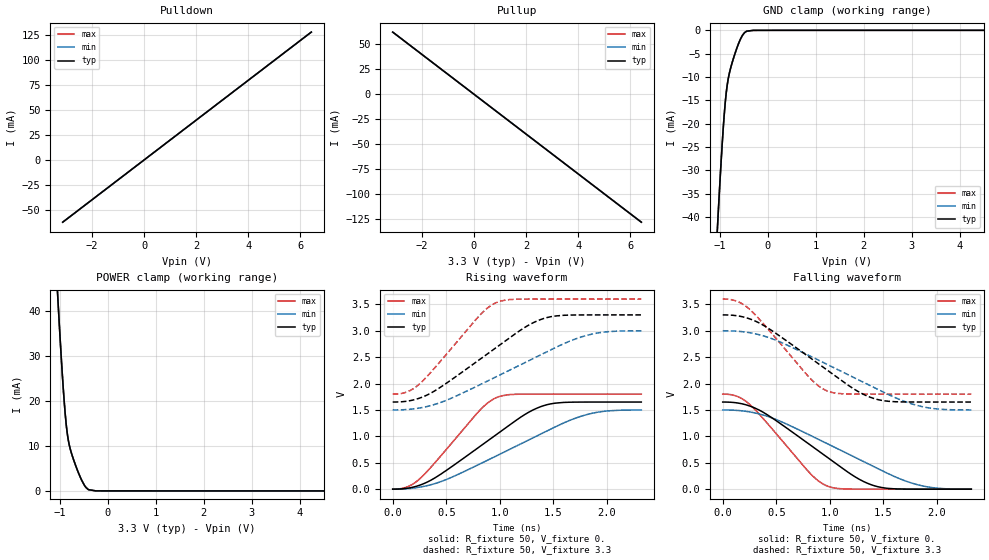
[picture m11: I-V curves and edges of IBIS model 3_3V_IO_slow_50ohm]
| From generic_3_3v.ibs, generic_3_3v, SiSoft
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[Model] 3_3V_IO_slow_50ohm
|SiSoft Include 3_3v.inc
Model_type I/O
|SiSoft Include 3_3v.inc
|C_comp_off 3.002p 2.502p 3.502p
|C_comp_on 3.002p 2.502p 3.502p
C_comp 3.002p 2.502p 3.502p
|SiSoft Rth_i 358.696K 375.001K 346.155K
|SiSoft Rth_r 50.004 50.004 50.005
|SiSoft Rth_f 49.996 49.996 49.995
Vinh = 2
Vinl = 0.8
Cref = 0
Vref = 1.65
Rref = 50
Vmeas = 1.65
|SiSoft spice_param TT Voh 3.3
|SiSoft spice_param SS Voh 3
|SiSoft spice_param FF Voh 3.6
|SiSoft spice_param ALL Vol 0
|SiSoft spice_param ALL R_SERIES 50
|SiSoft spice_param ALL RTERM_IN 1MEG
|SiSoft spice_param TT C_COMP 3pF
|SiSoft spice_param SS C_COMP 3.5pF
|SiSoft spice_param FF C_COMP 2.5pF
|SiSoft spice all testbed.mod tech_io_33
|SiSoft stimulus_rise_time 1.5n 2.0n 1.0n
[Temperature_Range] 25 100 0
[Voltage Range] 3.3 3. 3.6
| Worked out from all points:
|   slope of the pulldown table from 0 to 0.495 V, typ, clamps not added: 50 ohm
|   slope of the pullup table from 0 to 0.495 V, typ, clamps not added: 50 ohm
|   GND clamp passes 1 mA (typ) near -0.52 V on its own axis
|   POWER clamp passes 1 mA (typ) near -0.47 V on its own axis
|   rising waveform, R_fixture 50, V_fixture 0.: 20-80 % time 681ps typ, 907ps min, 457ps max; typ from 0 V to 1.65 V
|   rising waveform, R_fixture 50, V_fixture 3.3: 20-80 % time 681ps typ, 907ps min, 457ps max; typ from 1.65 V to 3.3 V
|   falling waveform, R_fixture 50, V_fixture 0.: 20-80 % time 681ps typ, 907ps min, 457ps max; typ from 1.65 V to 0 V
|   falling waveform, R_fixture 50, V_fixture 3.3: 20-80 % time 681ps typ, 907ps min, 457ps max; typ from 3.3 V to 1.65 V
[Pulldown]
-3.13V    -62.59mA   -62.59mA   -62.59mA
6.334V    126.7mA    126.7mA    126.7mA
6.344V    126.9mA    126.9mA    126.9mA
6.421V    128.4mA    128.4mA    128.4mA
[Pullup]
-3.121V   62.42mA    62.42mA    62.43mA
-2.822V   56.43mA    56.43mA    56.43mA
6.111V    -122.2mA   -122.2mA   -122.2mA
6.43V     -128.6mA   -128.6mA   -128.6mA
[GND Clamp]
-3.13V    -504.2mA   -504.2mA   -504.2mA
-1.046V   -41.42mA   -41.42mA   -41.42mA
-980.9mV  -29.33mA   -29.33mA   -29.33mA
-930mV    -21.03mA   -21.03mA   -21.03mA
-886.5mV  -15.34mA   -15.33mA   -15.34mA
-842.9mV  -11.46mA   -11.46mA   -11.46mA
-813.9mV  -9.757mA   -9.757mA   -9.756mA
-777.6mV  -8.167mA   -8.167mA   -8.167mA
-639.7mV  -3.634mA   -3.635mA   -3.634mA
-530.8mV  -1.098mA   -1.101mA   -1.098mA
-443.7mV  -197.8uA   -197.8uA   -200.3uA
6.421V    0A         0A         0A
[Power Clamp]
-3.13V    500.3mA    500.3mA    500.3mA
-1.047V   43.55mA    43.55mA    43.56mA
-1.035V   41.4mA     41.39mA    41.4mA
-967.9mV  29.04mA    29.04mA    29.04mA
-922.8mV  21.74mA    21.74mA    21.74mA
-877.8mV  15.81mA    15.81mA    15.82mA
-832.8mV  11.81mA    11.81mA    11.81mA
-765.2mV  8.6mA      8.599mA    8.601mA
-618.8mV  4.172mA    4.171mA    4.173mA
-495mV    1.369mA    1.367mA    1.37mA
-404.9mV  297.1uA    294.3uA    299.3uA
6.43V     0A         0A         0A
[Ramp]
dV/dt_r .99/681.016p .9/906.923p 1.08/456.63p
dV/dt_f .99/681.018p .9/906.924p 1.08/456.632p
[Rising Waveform]
R_fixture = 50
V_fixture = 0.
0s        50.03uV    50.03uV    50.03uV
120ps     12.53mV    6.978mV    32.43mV
240ps     66.88mV    33.92mV    174.4mV
480ps     327mV      166.1mV    703.6mV
820ps     817.8mV    483.6mV    1.509V
980ps     1.052V     642.7mV    1.744V
1.26ns    1.446V     922.5mV    1.799V
1.47ns    1.613V     1.132V     1.8V
1.865ns   1.65V      1.439V     1.8V
2.32ns    1.65V      1.499V     1.8V
[Rising Waveform]
R_fixture = 50
V_fixture = 3.3
V_fixture_min = 3.
V_fixture_max = 3.6
0s        1.65V      1.5V       1.8V
120ps     1.662V     1.507V     1.832V
240ps     1.717V     1.534V     1.974V
480ps     1.977V     1.666V     2.503V
820ps     2.468V     1.984V     3.309V
980ps     2.702V     2.143V     3.544V
1.26ns    3.096V     2.422V     3.599V
1.47ns    3.263V     2.632V     3.6V
1.865ns   3.3V       2.939V     3.6V
2.32ns    3.3V       2.999V     3.6V
[Falling Waveform]
R_fixture = 50
V_fixture = 0.
0s        1.65V      1.5V       1.8V
120ps     1.637V     1.493V     1.768V
240ps     1.583V     1.466V     1.626V
480ps     1.323V     1.334V     1.096V
820ps     832.2mV    1.016V     290.7mV
980ps     597.7mV    857.2mV    55.74mV
1.26ns    203.7mV    577.5mV    541.1uV
1.47ns    36.49mV    367.6mV    63.77uV
1.865ns   206.9uV    61.22mV    50.04uV
2.32ns    50.28uV    523.7uV    50.03uV
[Falling Waveform]
R_fixture = 50
V_fixture = 3.3
V_fixture_min = 3.
V_fixture_max = 3.6
0s        3.3V       3V         3.6V
120ps     3.287V     2.993V     3.567V
240ps     3.233V     2.966V     3.425V
480ps     2.973V     2.834V     2.896V
820ps     2.482V     2.516V     2.091V
980ps     2.248V     2.357V     1.856V
1.26ns    1.854V     2.077V     1.8V
1.47ns    1.686V     1.867V     1.8V
1.865ns   1.65V      1.561V     1.8V
2.32ns    1.65V      1.5V       1.8V
